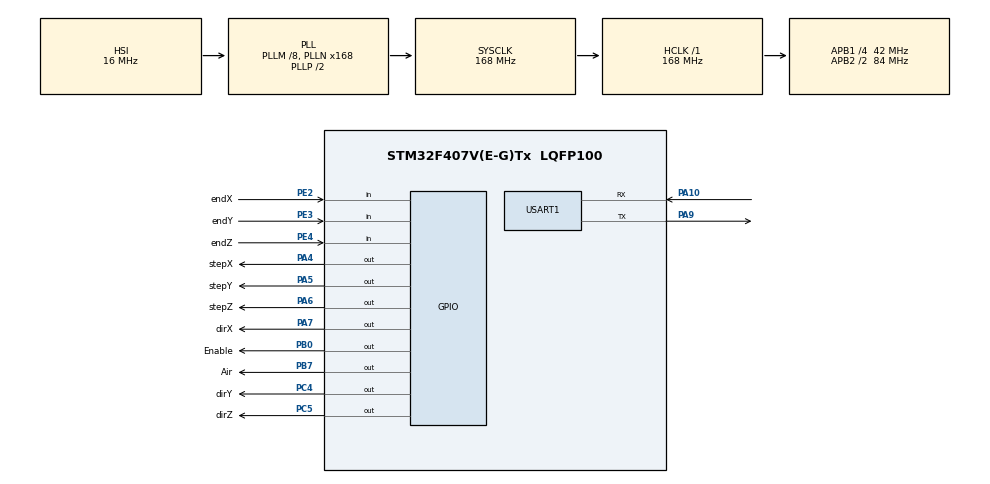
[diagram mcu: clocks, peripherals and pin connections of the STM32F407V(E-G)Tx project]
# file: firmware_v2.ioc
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Mcu.Family=STM32F4
Mcu.Name=STM32F407V(E-G)Tx
Mcu.Package=LQFP100
NVIC.PriorityGroup=NVIC_PRIORITYGROUP_4
NVIC.TIM6_DAC_IRQn=true\:0\:0\:false\:false\:true\:true\:true\:true
NVIC.TIM7_IRQn=true\:0\:0\:false\:false\:true\:true\:true\:true
NVIC.USART1_IRQn=true\:0\:0\:false\:false\:true\:true\:true\:true
PA10.Mode=Asynchronous
PA10.Signal=USART1_RX
PA13.Mode=Serial_Wire
PA13.Signal=SYS_JTMS-SWDIO
PA14.Mode=Serial_Wire
PA14.Signal=SYS_JTCK-SWCLK
PA4.GPIO_Label=stepX
PA4.Signal=GPIO_Output
PA5.GPIO_Label=stepY
PA5.Signal=GPIO_Output
PA6.GPIO_Label=stepZ
PA6.Signal=GPIO_Output
PA7.GPIO_Label=dirX
PA7.Signal=GPIO_Output
PA9.Mode=Asynchronous
PA9.Signal=USART1_TX
PB0.GPIO_Label=Enable
PB0.Signal=GPIO_Output
PB7.GPIO_Label=Air
PB7.Signal=GPIO_Output
PC4.GPIO_Label=dirY
PC4.Signal=GPIO_Output
PC5.GPIO_Label=dirZ
PC5.Signal=GPIO_Output
PE2.GPIO_Label=endX
PE2.GPIO_PuPd=GPIO_PULLDOWN
PE2.Signal=GPIO_Input
PE3.GPIO_Label=endY
PE3.GPIO_PuPd=GPIO_PULLDOWN
PE3.Signal=GPIO_Input
PE4.GPIO_Label=endZ
PE4.GPIO_PuPd=GPIO_PULLDOWN
PE4.Signal=GPIO_Input
PH0-OSC_IN.Mode=HSE-External-Oscillator
PH0-OSC_IN.Signal=RCC_OSC_IN
PH1-OSC_OUT.Mode=HSE-External-Oscillator
PH1-OSC_OUT.Signal=RCC_OSC_OUT
ProjectManager.HeapSize=0x200
ProjectManager.StackSize=0x400
ProjectManager.TargetToolchain=MDK-ARM V5.32
RCC.48MHZClocksFreq_Value=84000000
RCC.AHBFreq_Value=168000000
RCC.APB1CLKDivider=RCC_HCLK_DIV4
RCC.APB1Freq_Value=42000000
RCC.APB1TimFreq_Value=84000000
RCC.APB2CLKDivider=RCC_HCLK_DIV2
RCC.APB2Freq_Value=84000000
RCC.APB2TimFreq_Value=168000000
RCC.CortexFreq_Value=168000000
RCC.HCLKFreq_Value=168000000
RCC.HSE_VALUE=25000000
RCC.HSI_VALUE=16000000
RCC.LSE_VALUE=32768
RCC.PLLM=8
RCC.PLLN=168
RCC.SYSCLKFreq_VALUE=168000000
RCC.SYSCLKSource=RCC_SYSCLKSOURCE_PLLCLK
RCC.VCOOutputFreq_Value=336000000
TIM6.Period=500
TIM6.Prescaler=83
TIM7.Period=500
TIM7.Prescaler=83
USART1.VirtualMode=VM_ASYNC
VP_TIM6_VS_ClockSourceINT.Mode=Enable_Timer
VP_TIM7_VS_ClockSourceINT.Mode=Enable_Timer
board=custom

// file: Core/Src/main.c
/* USER CODE BEGIN Header */
/**
  ******************************************************************************
  * @file           : main.c
  * @brief          : Main program body
  ******************************************************************************
  * @attention
  *
  * Copyright (c) 2023 STMicroelectronics.
  * All rights reserved.
  *
  * This software is licensed under terms that can be found in the LICENSE file
  * in the root directory of this software component.
  * If no LICENSE file comes with this software, it is provided AS-IS.
  *
  ******************************************************************************
  */
/* USER CODE END Header */
#include "main.h"

/* USER CODE BEGIN Includes */
#include <math.h>
/* USER CODE END Includes */

/* USER CODE BEGIN PD */
#define buf_size 5000 // size of g-code frames buffer
#define    DWT_CYCCNT    *(volatile unsigned long *)0xE0001004
#define    DWT_CONTROL   *(volatile unsigned long *)0xE0001000
#define    SCB_DEMCR     *(volatile unsigned long *)0xE000EDFC
#define X_home_table 7000
#define Y_home_table 7000
/* USER CODE END PD */

TIM_HandleTypeDef htim6;
TIM_HandleTypeDef htim7;

UART_HandleTypeDef huart1;

/* USER CODE BEGIN PV */

uint8_t str[3]; // for messaging with PC
uint8_t TxD[1]; // for transmit message
uint8_t current_command = 0;
uint8_t message = '0';  // zero state message
/*
message = '0' - zero state message
message = '1' - ready to next frame message
message = '2' - ready to get x-coord
message = '3' - ready to get y-coord
message = '4' - program if completed
message = '5' - error message
*/

uint32_t x_coord;
uint32_t y_coord;
uint32_t x_prev = 0;
uint32_t y_prev = 0;

uint8_t X_dir = 1;
uint8_t Y_dir = 1;
uint8_t Z_dir = 1;
int32_t X_pos = 0;
int32_t Y_pos = 0;
int32_t Z_pos = 0;

uint8_t flag = 0; // useles
uint32_t feed_rate = 3000;
uint32_t free_speed = 7000;
uint32_t X_period = 500; // timer period? regulates interrupts frequency
uint32_t Y_period = 500;
int32_t X_e;
int32_t Y_e;
uint8_t X_home;
uint8_t Y_home;
uint8_t Z_home;
uint8_t command [buf_size]; // g-code commands buffer
uint32_t X_buf [buf_size]; 	// coords buffer
uint32_t Y_buf [buf_size];
uint16_t X_period_buf[buf_size];
uint16_t Y_period_buf[buf_size];
uint16_t frame = 0;
uint8_t X_dir_buf[buf_size];
uint8_t Y_dir_buf[buf_size];
uint8_t moveZ = 0;					// flag if we need to move Z-axis, its on tim7, same as Y-axis
uint32_t cycles_count = 0;
uint8_t ProgrammIsDone = 0;
uint8_t LoadingIsDone = 0;

/* USER CODE END PV */

void SystemClock_Config(void);
static void MX_GPIO_Init(void);
static void MX_TIM6_Init(void);
static void MX_TIM7_Init(void);
static void MX_USART1_UART_Init(void);
/* USER CODE BEGIN PFP */

void DWT_Init(void)
{
  //разрешаем использовать счётчик
  SCB_DEMCR |= CoreDebug_DEMCR_TRCENA_Msk;
  //обнуляем значение счётного регистра
	DWT_CYCCNT  = 0;
  //запускаем счётчик
	DWT_CONTROL |= DWT_CTRL_CYCCNTENA_Msk;
}

static __inline uint32_t delta(uint32_t t0, uint32_t t1)
{
    return (t1 - t0);
}
void delay_us(uint32_t us)
{
      uint32_t t0 =  DWT->CYCCNT;
      uint32_t us_count_tic =  us * (SystemCoreClock/1000000);
      while (delta(t0, DWT->CYCCNT) < us_count_tic) ;
}

void compressor_on(void)
{
	HAL_GPIO_WritePin(Air_GPIO_Port, Air_Pin, GPIO_PIN_RESET);
}

void compressor_off(void)
{
	HAL_GPIO_WritePin(Air_GPIO_Port, Air_Pin, GPIO_PIN_SET);
}

void X_driver(void)
{
		DWT->CYCCNT = 0; // Iaioeyai n?ao?ee
		if (X_dir == 1){
				X_pos++;
		}
		else {
				X_pos--;
		}

		GPIOA->ODR |= (1<<4); //stepX
		delay_us(10);
		GPIOA->ODR &= ~(1<<4);
		cycles_count = DWT->CYCCNT; // ?eoaai n?ao?ee oaeoia
}

void Z_driver(void)
{
		if (Z_dir == 1){
			Z_pos++;
		}
		else {
			Z_pos--;
		}

		GPIOA->ODR |= (1<<6); //stepZ
		delay_us(10);
		GPIOA->ODR &= ~(1<<6);
}

void Y_driver(void)
{
	if (moveZ == 1) { Z_driver(); }
	else{
		if (Y_dir == 1){
			Y_pos++;
		}
		else {
			Y_pos--;
		}

		GPIOA->ODR |= (1<<5); //stepY
		delay_us(10);
		GPIOA->ODR &= ~(1<<5);
	}
}

static inline void calculate_period(int32_t x, int32_t y, uint32_t speed)
{
	float fdt;
	if(x < 0){ x*= -1;}
	if(y < 0){ y*= -1;}
	fdt = hypot(x, y);
	fdt = fdt * 1000000 / speed; // fdt = f * sqrtf(x*x + y*y) / feed_rate;
	X_period = fdt / x;
	Y_period = fdt / y;
}

void send_message(uint8_t message)
{
	TxD[0] = message;
	HAL_UART_Transmit(&huart1, TxD, 1, 10); // send ready command
}

void Driver_Init(void)
{
	TIM6 ->DIER |= TIM_DIER_UIE; // enable interrupt from tim6
	TIM7 ->DIER |= TIM_DIER_UIE; // enable interrupt from tim7
	GPIOB->ODR |= (1 << 0); // enable stepper driver
	TIM6 ->CR1 &= ~TIM_CR1_CEN;	// disable tim6
	TIM7 ->CR1 &= ~TIM_CR1_CEN;	// disable tim7
}

void Driver_DeInit(void)
{
	TIM6 ->DIER &= ~TIM_DIER_UIE; // disable interrupt from tim6
	TIM7 ->DIER &= ~TIM_DIER_UIE; // disable interrupt from tim7
	TIM10->DIER &= ~TIM_DIER_UIE; // disable interrupt from tim10
	GPIOB->ODR &= ~(1 << 0); // disable stepper driver
	TIM6->CR1 &= ~TIM_CR1_CEN;	// disable tim6
	TIM7->CR1 &= ~TIM_CR1_CEN;	// disable tim7
}

void CNC_FreeMoving(uint32_t x, uint32_t y)
{
	X_e = x - X_pos; // x-axis deviation
	Y_e = y - Y_pos; // y-axis deviation
	calculate_period(X_e, Y_e, free_speed);

	if(X_e < 0) {
		X_dir = 0;
		GPIOA->ODR |= (1<<7); //dirX
	}
	else {
		X_dir = 1;
		GPIOA->ODR &= ~(1<<7);
	}
	if(Y_e < 0) {
		Y_dir = 0;
		GPIOC->ODR |= (1<<4); //dirY
	}
	else {
		Y_dir = 1;
		GPIOC->ODR &= ~(1<<4);
	}

	TIM6->ARR = X_period; // X_period
	TIM7->ARR = Y_period; // Y_period

	if (X_e != 0) { TIM6->CR1 |= TIM_CR1_CEN; }	// enable tim6
	if (Y_e != 0) { TIM7->CR1 |= TIM_CR1_CEN; }	// enable tim7

	while(X_e != 0 || Y_e != 0){  //  (X_e >= 5 || X_e <= -5 || Y_e >= 5 || Y_e <= -5)
		flag = 1;
		X_e = x - X_pos; // x-axis deviation
		Y_e = y - Y_pos; // y-axis deviation
		if (X_e == 0) { TIM6->CR1 &= ~TIM_CR1_CEN; }	// disable tim6
		if (Y_e == 0) { TIM7->CR1 &= ~TIM_CR1_CEN; }	// disable tim7
		flag = 2;
	}
}

void CNC_Moving(uint32_t x, uint32_t y)
{

	X_e = x - X_pos; // x-axis deviation
	Y_e = y - Y_pos; // y-axis deviation
	//calculate_period(X_e, Y_e);

	if(X_e < 0) {
		X_dir = 0;
		GPIOA->ODR |= (1<<7); //dirX
	}
	else {
		X_dir = 1;
		GPIOA->ODR &= ~(1<<7);
	}
	if(Y_e < 0) {
		Y_dir = 0;
		GPIOC->ODR |= (1<<4); //dirY
	}
	else {
		Y_dir = 1;
		GPIOC->ODR &= ~(1<<4);
	}

	X_period = X_period_buf[frame];
	Y_period = Y_period_buf[frame];
	TIM6->ARR = X_period;  // X_period
	TIM7->ARR = Y_period; // Y_period

	if (X_e != 0) { TIM6->CR1 |= TIM_CR1_CEN; }	// enable tim6
	if (Y_e != 0) { TIM7->CR1 |= TIM_CR1_CEN; }	// enable tim7

	while(X_e != 0 || Y_e != 0){  //  (X_e >= 5 || X_e <= -5 || Y_e >= 5 || Y_e <= -5)
		DWT->CYCCNT = 0; // Iaioeyai n?ao?ee
		X_e = x - X_pos; // x-axis deviation
		Y_e = y - Y_pos; // y-axis deviation
		if (X_e == 0) { TIM6->CR1 &= ~TIM_CR1_CEN; }	// disable tim6
		if (Y_e == 0) { TIM7->CR1 &= ~TIM_CR1_CEN; }	// disable tim7
		flag = 2;
		cycles_count = DWT->CYCCNT; // ?eoaai n?ao?ee oaeoia
	}
}

void CNC_Homing(void){
	X_dir = 0;
	Y_dir = 0;
	Z_dir = 0;
	TIM6->ARR = 300; // X_period
	TIM7->ARR = 300; // Y_period

	if( (GPIOE->IDR & (1 << 4)) != 0 ) { // high level GPIOE 3 - end of y
			Z_home = 1; // at home
	}
	else{ Z_home = 0; } // isnt home
	if( (GPIOE->IDR & (1 << 3)) != 0 ) { // high level GPIOE 3 - end of y
			Y_home = 1; // at home
	}
	else{ Y_home = 0; } // isnt home
	if( (GPIOE->IDR & (1 << 2)) != 0 ) { // high level GPIOE 3 - end of x
			X_home = 1; // at home
	}
	else{ X_home = 0; } // isnt home

	Driver_Init();
	// first move Z up
	if(Z_home != 1) {
		moveZ = 1;
		TIM7->CR1 |= TIM_CR1_CEN;
	}
	while(Z_home != 1){
		if( (GPIOE->IDR & (1 << 4)) != 0 ) { // high level GPIOE 3 - end of y
			TIM7->CR1 &= ~TIM_CR1_CEN;
			Z_home = 1; // at home
			moveZ = 0;
		}
		else{ // isnt home
			Z_home = 0;
		}
	}

		if(X_home != 1) { TIM6->CR1 |= TIM_CR1_CEN; }
		if(Y_home != 1) { TIM7->CR1 |= TIM_CR1_CEN; }

	while(X_home != 1 || Y_home != 1){
		if( (GPIOE->IDR & (1 << 3)) != 0 ) { // high level GPIOE 3 - end of y
			Y_home = 1; // not home
			TIM7->CR1 &= ~TIM_CR1_CEN;
		}
		else{ // at home
			Y_home = 0;
		}

		if( (GPIOE->IDR & (1 << 2)) != 0 ) { // high level GPIOE 3 - end of x
			X_home = 1; // not home
			TIM6->CR1 &= ~TIM_CR1_CEN;
		}
		else{ // at home
			X_home = 0;
		}
	}
	Driver_DeInit();
	X_pos = 0;
	Y_pos = 0;
}
void CNC_Init (void)
{
	CNC_Homing();
	Driver_Init();
	CNC_FreeMoving(7000,7000); // move to table home position
	Driver_DeInit();
	frame = 0;
	X_pos = 0;
	Y_pos = 0;
	flag = 0;
	ProgrammIsDone = 0;
	LoadingIsDone = 0;
	uint8_t request[1];  // ready-message

	while ( HAL_UART_Receive(&huart1, request, 1, 10) != HAL_OK ){}  // waiting request from PC
	if (request[0] == '1'){
		send_message('1');
		HAL_Delay(10);

	}
}

void CNC_DeInit(void)
{
	compressor_off();
	CNC_Homing();
	Driver_DeInit();
}

void Gcode_Loader(void)  // main CNC cycle
{
	uint8_t str[3];
	uint8_t frame_data[13];

	while (LoadingIsDone == 0)
	{
		while ( HAL_UART_Receive(&huart1, frame_data, 13, 10) != HAL_OK ){} // waiting for command from PC
		command[frame] = frame_data[0];
		switch(frame_data[0])
		{
			case '1':  //  get a coordinate command (free or work moving) G00 = '1' / G01 = '3'
					x_coord = 100000*(frame_data[1]- '0') + 10000*(frame_data[2]- '0') + 1000*(frame_data[3]- '0') + 100*(frame_data[4]- '0') + 10*(frame_data[5]- '0') + (frame_data[6]- '0'); // write a x-coord variable
					X_buf [frame] = x_coord;
					y_coord = 100000*(frame_data[7]- '0') + 10000*(frame_data[8]- '0') + 1000*(frame_data[9]- '0') + 100*(frame_data[10]- '0') + 10*(frame_data[11]- '0') + (frame_data[12]- '0'); // write a x-coord variable
					Y_buf [frame] = y_coord;

					calculate_period(x_coord - x_prev,y_coord - y_prev, free_speed);
					X_period_buf[frame] = X_period;
					Y_period_buf[frame] = Y_period;

					x_prev = x_coord;
					y_prev = y_coord;

					break;

			case '3':
					x_coord = 100000*(frame_data[1]- '0') + 10000*(frame_data[2]- '0') + 1000*(frame_data[3]- '0') + 100*(frame_data[4]- '0') + 10*(frame_data[5]- '0') + (frame_data[6]- '0'); // write a x-coord variable
					X_buf [frame] = x_coord;
					y_coord = 100000*(frame_data[7]- '0') + 10000*(frame_data[8]- '0') + 1000*(frame_data[9]- '0') + 100*(frame_data[10]- '0') + 10*(frame_data[11]- '0') + (frame_data[12]- '0'); // write a x-coord variable
					Y_buf [frame] = y_coord;

					calculate_period(x_coord - x_prev,y_coord - y_prev, feed_rate);
					X_period_buf[frame] = X_period;
					Y_period_buf[frame] = Y_period;

					x_prev = x_coord;
					y_prev = y_coord;
					break;

			case '0':
					//send_message('1'); // ready-message
					break;

			case '2':  // compressor on
					// compressor_on();
					//send_message('1'); // ready-message
					break;

			case '4':  // compressor off
					// compressor_off();
					//send_message('1'); // ready-message
					break;

			case '5':  // final of programm
					LoadingIsDone = 1;

					//send_message('4'); // program is completed
					break;

			default:
					//send_message('5'); // error
					//CNC_DeInit();
					break;
		}
		frame++;
	}
}

void CNC_Main(void)  // main CNC cycle
{
	frame = 0;
	Driver_Init();
	HAL_Delay(100);
	while (ProgrammIsDone == 0)
	{
		switch(command[frame])
		{
			case '1': case '3':  //  get a coordinate command (free or work moving) G00 = '1' / G01 = '3'
					CNC_Moving(X_buf[frame], Y_buf[frame]);

					break;

			case '0':
					//send_message('1'); // ready-message
					break;

			case '2':  // compressor on
					compressor_on();
					//send_message('1'); // ready-message
					break;

			case '4':  // compressor off
					compressor_off();
					//send_message('1'); // ready-message
					break;

			case '5':  // final of programm

					CNC_DeInit();
					ProgrammIsDone = 1;
					send_message('4'); // program is completed
					break;

			default:
					send_message('5'); // error
					CNC_DeInit();
					break;
		}
		frame++;

	}
}

/* USER CODE END PFP */

int main(void)
{

  /* MCU Configuration--------------------------------------------------------*/

  /* Reset of all peripherals, Initializes the Flash interface and the Systick. */
  HAL_Init();

  /* Configure the system clock */
  SystemClock_Config();

  /* Initialize all configured peripherals */
  MX_GPIO_Init();
  MX_TIM6_Init();
  MX_TIM7_Init();
  MX_USART1_UART_Init();
  /* USER CODE BEGIN 2 */
	DWT_Init();
	CoreDebug->DEMCR |= CoreDebug_DEMCR_TRCENA_Msk; // ????????? TRACE
	DWT->CTRL |= DWT_CTRL_CYCCNTENA_Msk; // ????????? ??????? ??????
  /* USER CODE END 2 */

  /* Infinite loop */
  /* USER CODE BEGIN WHILE */
  while (1)
  {
		CNC_Init();
		Gcode_Loader();
		CNC_Main();
		CNC_DeInit();
    /* USER CODE END WHILE */

  }
}

void SystemClock_Config(void)
{
  RCC_OscInitTypeDef RCC_OscInitStruct = {0};
  RCC_ClkInitTypeDef RCC_ClkInitStruct = {0};

  /** Configure the main internal regulator output voltage
  */
  __HAL_RCC_PWR_CLK_ENABLE();
  __HAL_PWR_VOLTAGESCALING_CONFIG(PWR_REGULATOR_VOLTAGE_SCALE1);

  /** Initializes the RCC Oscillators according to the specified parameters
  * in the RCC_OscInitTypeDef structure.
  */
  RCC_OscInitStruct.OscillatorType = RCC_OSCILLATORTYPE_HSI;
  RCC_OscInitStruct.HSIState = RCC_HSI_ON;
  RCC_OscInitStruct.HSICalibrationValue = RCC_HSICALIBRATION_DEFAULT;
  RCC_OscInitStruct.PLL.PLLState = RCC_PLL_ON;
  RCC_OscInitStruct.PLL.PLLSource = RCC_PLLSOURCE_HSI;
  RCC_OscInitStruct.PLL.PLLM = 8;
  RCC_OscInitStruct.PLL.PLLN = 168;
  RCC_OscInitStruct.PLL.PLLP = RCC_PLLP_DIV2;
  RCC_OscInitStruct.PLL.PLLQ = 4;
  if (HAL_RCC_OscConfig(&RCC_OscInitStruct) != HAL_OK)
  {
    Error_Handler();
  }

  /** Initializes the CPU, AHB and APB buses clocks
  */
  RCC_ClkInitStruct.ClockType = RCC_CLOCKTYPE_HCLK|RCC_CLOCKTYPE_SYSCLK
                              |RCC_CLOCKTYPE_PCLK1|RCC_CLOCKTYPE_PCLK2;
  RCC_ClkInitStruct.SYSCLKSource = RCC_SYSCLKSOURCE_PLLCLK;
  RCC_ClkInitStruct.AHBCLKDivider = RCC_SYSCLK_DIV1;
  RCC_ClkInitStruct.APB1CLKDivider = RCC_HCLK_DIV4;
  RCC_ClkInitStruct.APB2CLKDivider = RCC_HCLK_DIV2;

  if (HAL_RCC_ClockConfig(&RCC_ClkInitStruct, FLASH_LATENCY_5) != HAL_OK)
  {
    Error_Handler();
  }
}

static void MX_TIM6_Init(void)
{

  TIM_MasterConfigTypeDef sMasterConfig = {0};

  htim6.Instance = TIM6;
  htim6.Init.Prescaler = 83;
  htim6.Init.CounterMode = TIM_COUNTERMODE_UP;
  htim6.Init.Period = 500;
  htim6.Init.AutoReloadPreload = TIM_AUTORELOAD_PRELOAD_DISABLE;
  if (HAL_TIM_Base_Init(&htim6) != HAL_OK)
  {
    Error_Handler();
  }
  sMasterConfig.MasterOutputTrigger = TIM_TRGO_RESET;
  sMasterConfig.MasterSlaveMode = TIM_MASTERSLAVEMODE_DISABLE;
  if (HAL_TIMEx_MasterConfigSynchronization(&htim6, &sMasterConfig) != HAL_OK)
  {
    Error_Handler();
  }

}

static void MX_TIM7_Init(void)
{

  TIM_MasterConfigTypeDef sMasterConfig = {0};

  htim7.Instance = TIM7;
  htim7.Init.Prescaler = 83;
  htim7.Init.CounterMode = TIM_COUNTERMODE_UP;
  htim7.Init.Period = 500;
  htim7.Init.AutoReloadPreload = TIM_AUTORELOAD_PRELOAD_DISABLE;
  if (HAL_TIM_Base_Init(&htim7) != HAL_OK)
  {
    Error_Handler();
  }
  sMasterConfig.MasterOutputTrigger = TIM_TRGO_RESET;
  sMasterConfig.MasterSlaveMode = TIM_MASTERSLAVEMODE_DISABLE;
  if (HAL_TIMEx_MasterConfigSynchronization(&htim7, &sMasterConfig) != HAL_OK)
  {
    Error_Handler();
  }

}

static void MX_USART1_UART_Init(void)
{

  huart1.Instance = USART1;
  huart1.Init.BaudRate = 115200;
  huart1.Init.WordLength = UART_WORDLENGTH_8B;
  huart1.Init.StopBits = UART_STOPBITS_1;
  huart1.Init.Parity = UART_PARITY_NONE;
  huart1.Init.Mode = UART_MODE_TX_RX;
  huart1.Init.HwFlowCtl = UART_HWCONTROL_NONE;
  huart1.Init.OverSampling = UART_OVERSAMPLING_16;
  if (HAL_UART_Init(&huart1) != HAL_OK)
  {
    Error_Handler();
  }

}

static void MX_GPIO_Init(void)
{
  GPIO_InitTypeDef GPIO_InitStruct = {0};

  /* GPIO Ports Clock Enable */
  __HAL_RCC_GPIOE_CLK_ENABLE();
  __HAL_RCC_GPIOH_CLK_ENABLE();
  __HAL_RCC_GPIOA_CLK_ENABLE();
  __HAL_RCC_GPIOC_CLK_ENABLE();
  __HAL_RCC_GPIOB_CLK_ENABLE();

  /*Configure GPIO pin Output Level */
  HAL_GPIO_WritePin(GPIOA, stepX_Pin|stepY_Pin|stepZ_Pin|dirX_Pin, GPIO_PIN_RESET);

  /*Configure GPIO pin Output Level */
  HAL_GPIO_WritePin(GPIOC, dirY_Pin|dirZ_Pin, GPIO_PIN_RESET);

  /*Configure GPIO pin Output Level */
  HAL_GPIO_WritePin(GPIOB, Enable_Pin|Air_Pin, GPIO_PIN_RESET);

  /*Configure GPIO pins : endX_Pin endY_Pin endZ_Pin */
  GPIO_InitStruct.Pin = endX_Pin|endY_Pin|endZ_Pin;
  GPIO_InitStruct.Mode = GPIO_MODE_INPUT;
  GPIO_InitStruct.Pull = GPIO_PULLDOWN;
  HAL_GPIO_Init(GPIOE, &GPIO_InitStruct);

  /*Configure GPIO pins : stepX_Pin stepY_Pin stepZ_Pin dirX_Pin */
  GPIO_InitStruct.Pin = stepX_Pin|stepY_Pin|stepZ_Pin|dirX_Pin;
  GPIO_InitStruct.Mode = GPIO_MODE_OUTPUT_PP;
  GPIO_InitStruct.Pull = GPIO_NOPULL;
  GPIO_InitStruct.Speed = GPIO_SPEED_FREQ_LOW;
  HAL_GPIO_Init(GPIOA, &GPIO_InitStruct);

  /*Configure GPIO pins : dirY_Pin dirZ_Pin */
  GPIO_InitStruct.Pin = dirY_Pin|dirZ_Pin;
  GPIO_InitStruct.Mode = GPIO_MODE_OUTPUT_PP;
  GPIO_InitStruct.Pull = GPIO_NOPULL;
  GPIO_InitStruct.Speed = GPIO_SPEED_FREQ_LOW;
  HAL_GPIO_Init(GPIOC, &GPIO_InitStruct);

  /*Configure GPIO pins : Enable_Pin Air_Pin */
  GPIO_InitStruct.Pin = Enable_Pin|Air_Pin;
  GPIO_InitStruct.Mode = GPIO_MODE_OUTPUT_PP;
  GPIO_InitStruct.Pull = GPIO_NOPULL;
  GPIO_InitStruct.Speed = GPIO_SPEED_FREQ_LOW;
  HAL_GPIO_Init(GPIOB, &GPIO_InitStruct);

}

void Error_Handler(void)
{
  __disable_irq();
  while (1)
  {
  }
}
